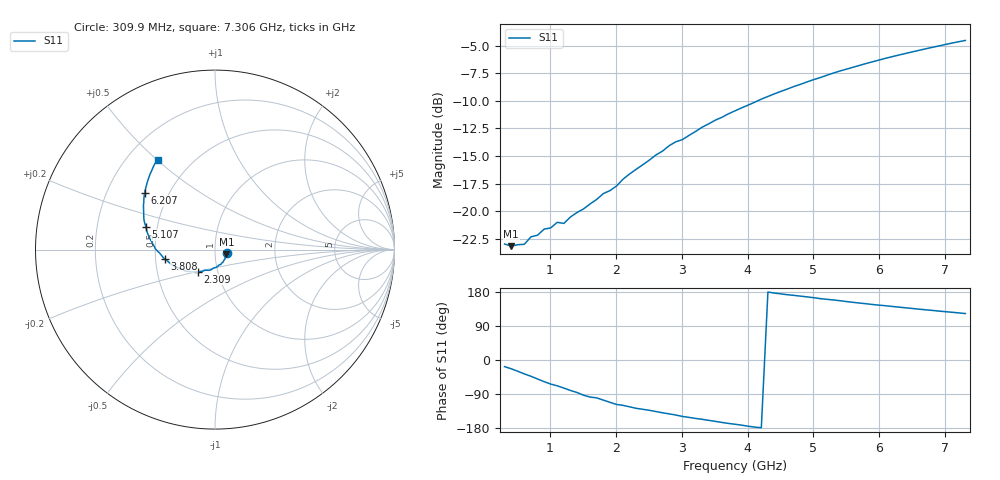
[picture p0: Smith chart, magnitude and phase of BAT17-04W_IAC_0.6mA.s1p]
! Infineon Technologies  Discrete & RF Semiconductors
! BAT17-04W
! IAC = 0.6 mA
! One-Port S-Parameters
# Hz  S  MA  R  50
!f  S11
!Hz  Mag  Ang
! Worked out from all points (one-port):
!   71 points, 309.9 MHz to 7.306 GHz, reference 50 ohm
!   lowest |S11| = -23.2 dB at 409.8 MHz (marker M1), VSWR 1.15, Z = 56.7 - j3.1 ohm
!   |S11| at or under -10 dB: start of sweep to 4.149 GHz
!   S11 on the Smith chart (normalised r, x): 309.9 MHz: 1.14, -0.05; 2.309 GHz: 0.80, -0.20; 3.808 GHz: 0.56, -0.06; 5.107 GHz: 0.43, +0.13; 6.207 GHz: 0.37, +0.31; 7.306 GHz: 0.32, +0.50
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3.0985e8  0.07084 -17.5
4.098e8  0.06925 -23.1
6.097e8  0.07063 -36.8
7.0965e8  0.07633 -42.9
8.096e8  0.07768 -50.1
9.0955e8  0.08274 -57.1
1.0095e9  0.08383 -63.5
1.10945e9  0.08888 -68.2
1.2094e9  0.08783 -74.0
1.30935e9  0.09396 -80.3
1.70915e9  0.113 -100.0
1.8091e9  0.12 -105.9
2.009e9  0.1299 -117.3
2.10895e9  0.1396 -119.8
2.30885e9  0.1548 -127.6
2.8086e9  0.1981 -142.2
3.0085e9  0.2109 -148.8
3.30835e9  0.2402 -156.4
3.8081e9  0.2851 -169.5
4.30785e9  0.3314 179.3
4.70765e9  0.3681 170.5
5.10745e9  0.4041 161.8
5.4073e9  0.433 156.4
5.6072e9  0.4503 152.0
6.2069e9  0.5034 141.1
6.50675e9  0.5288 135.8
6.8066e9  0.5542 130.8
7.30635e9  0.5952 122.5
